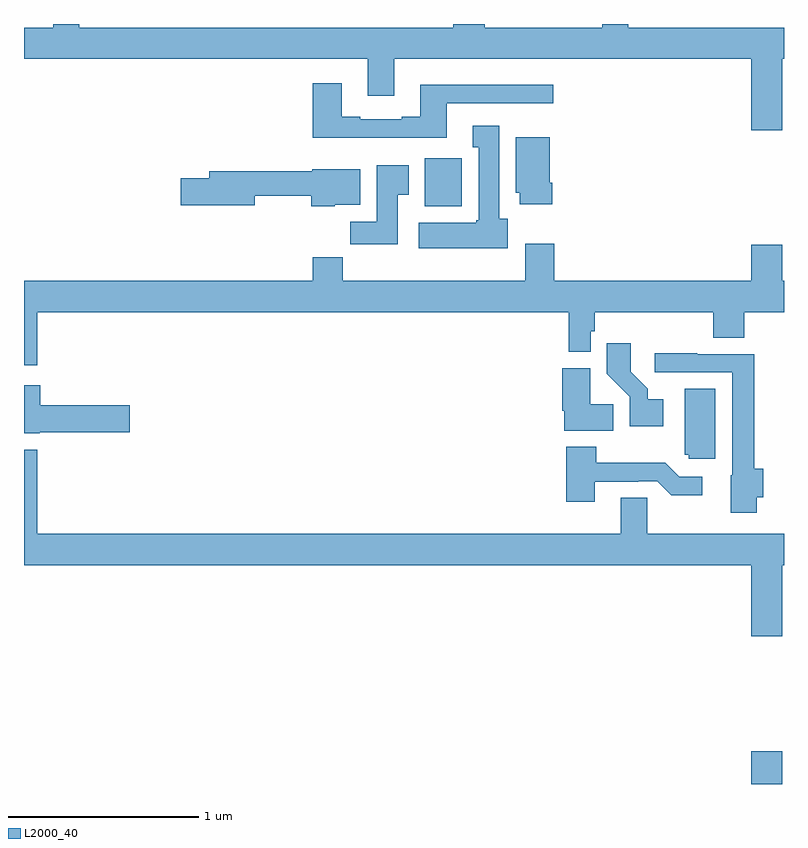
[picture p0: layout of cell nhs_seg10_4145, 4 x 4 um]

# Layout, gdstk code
import gdstk
lib = gdstk.Library(unit=1e-6, precision=1e-09)
def R(c, l, rs):  # rectangles x0, y0, x1, y1
    for r in rs: c.add(gdstk.rectangle(r[:2], r[2:], *l))
def P(c, l, *ps):  # polygons
    for p in ps: c.add(gdstk.Polygon(p, *l))
L2000_40 = (2000, 40)

nhs_seg10_4145 = lib.new_cell('nhs_seg10_4145')
R(nhs_seg10_4145, L2000_40, [(344.828,1296.5,344.992,1296.673), (343.109,1299.542,343.305,1299.793)])
P(nhs_seg10_4145, L2000_40, [(344.992,1300.316),(345,1300.316),(345,1300.48),(344.18,1300.48),(344.18,1300.5),(344.044,1300.5),(344.044,1300.48),(343.424,1300.48),(343.424,1300.5),(343.259,1300.5),(343.259,1300.48),(341.291,1300.48),(341.291,1300.5),(341.155,1300.5),(341.155,1300.48),(341,1300.48),(341,1300.316),(342.809,1300.316),(342.809,1300.122),(342.949,1300.122),(342.949,1300.316),(344.828,1300.316),(344.828,1299.942),(344.992,1299.942)],
  [(343.225,1300.083),(343.786,1300.083),(343.786,1300.18),(343.085,1300.18),(343.085,1300.012),(342.989,1300.012),(342.989,1299.999),(342.769,1299.999),(342.769,1300.012),(342.673,1300.012),(342.673,1300.189),(342.521,1300.189),(342.521,1299.902),(343.225,1299.902)],
  [(343.546,1299.474),(343.501,1299.474),(343.501,1299.964),(343.361,1299.964),(343.361,1299.851),(343.394,1299.851),(343.394,1299.468),(343.381,1299.468),(343.381,1299.454),(343.077,1299.454),(343.077,1299.32),(343.546,1299.32)],
  [(343.781,1299.664),(343.768,1299.664),(343.768,1299.904),(343.589,1299.904),(343.589,1299.612),(343.61,1299.612),(343.61,1299.552),(343.781,1299.552)],
  [(342.967,1299.601),(343.024,1299.601),(343.024,1299.757),(342.857,1299.757),(342.857,1299.46),(342.718,1299.46),(342.718,1299.342),(342.967,1299.342)],
  [(342.636,1299.548),(342.769,1299.548),(342.769,1299.736),(342.518,1299.736),(342.518,1299.725),(341.975,1299.725),(341.975,1299.689),(341.826,1299.689),(341.826,1299.547),(342.214,1299.547),(342.214,1299.597),(342.511,1299.597),(342.511,1299.542),(342.636,1299.542)],
  [(341.071,1298.984),(343.867,1298.984),(343.867,1298.774),(343.983,1298.774),(343.983,1298.883),(344.003,1298.883),(344.003,1298.984),(344.627,1298.984),(344.627,1298.848),(344.792,1298.848),(344.792,1298.984),(345,1298.984),(345,1299.148),(344.992,1299.148),(344.992,1299.337),(344.828,1299.337),(344.828,1299.148),(343.79,1299.148),(343.79,1299.343),(343.637,1299.343),(343.637,1299.148),(342.677,1299.148),(342.677,1299.272),(342.521,1299.272),(342.521,1299.148),(341,1299.148),(341,1298.703),(341.071,1298.703)],
  [(344.365,1298.524),(344.284,1298.524),(344.284,1298.579),(344.194,1298.669),(344.194,1298.821),(344.068,1298.821),(344.068,1298.658),(344.187,1298.539),(344.187,1298.384),(344.365,1298.384)],
  [(344.856,1298.01),(344.891,1298.01),(344.891,1298.159),(344.843,1298.159),(344.843,1298.763),(344.543,1298.763),(344.543,1298.766),(344.319,1298.766),(344.319,1298.667),(344.727,1298.667),(344.727,1298.124),(344.72,1298.124),(344.72,1297.928),(344.856,1297.928)],
  [(344.102,1298.498),(343.981,1298.498),(343.981,1298.689),(343.832,1298.689),(343.832,1298.464),(343.844,1298.464),(343.844,1298.36),(344.102,1298.36)],
  [(341.082,1298.351),(341.557,1298.351),(341.557,1298.493),(341.086,1298.493),(341.086,1298.599),(341,1298.599),(341,1298.345),(341.082,1298.345)],
  [(344.638,1298.581),(344.477,1298.581),(344.477,1298.232),(344.499,1298.232),(344.499,1298.211),(344.638,1298.211)],
  [(344.005,1298.091),(344.234,1298.091),(344.234,1298.094),(344.334,1298.094),(344.407,1298.021),(344.569,1298.021),(344.569,1298.118),(344.448,1298.118),(344.375,1298.191),(344.013,1298.191),(344.013,1298.275),(343.853,1298.275),(343.853,1297.986),(344.005,1297.986)],
  [(344.828,1297.278),(344.992,1297.278),(344.992,1297.652),(345,1297.652),(345,1297.816),(344.28,1297.816),(344.28,1298.006),(344.141,1298.006),(344.141,1297.816),(341.071,1297.816),(341.071,1298.26),(341,1298.26),(341,1297.652),(344.828,1297.652)])

lib.write_gds('nhs_seg10_4145.gds')
